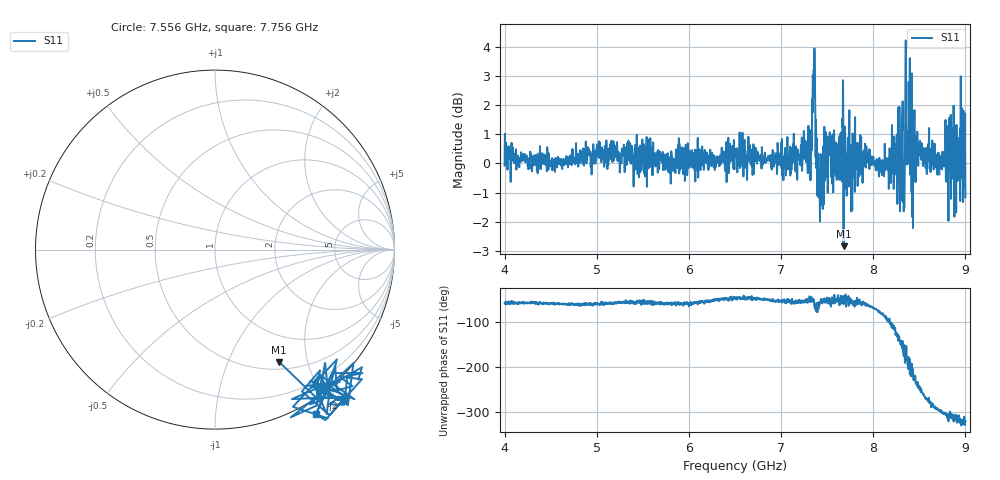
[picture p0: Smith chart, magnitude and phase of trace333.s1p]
! Created with skrf 1.8.0 (http://scikit-rf.org).
# Hz S RI R 50.0
!freq ReS11 ImS11
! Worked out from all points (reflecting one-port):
!   1601 points, 4 GHz to 9 GHz, reference 50 ohm
!   lowest |S11| = -2.8 dB at 7.678 GHz (marker M1), VSWR 6.17, Z = 29.9 - j77.8 ohm
!   phase of S11 starts at -58 deg and turns -264 deg over the sweep
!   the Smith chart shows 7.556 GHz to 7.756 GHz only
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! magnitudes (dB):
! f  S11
! 4 GHz  -0.1
! 4.625 GHz  -0.2
! 5.25 GHz  -0.3
! 5.875 GHz  0.2
! 6.5 GHz  0.4
! 7.125 GHz  0.2
! 7.309 GHz  1.1
! 7.353 GHz  3.2
! 7.369 GHz  2.4
! 7.4 GHz  0.3
! 7.428 GHz  0.3
! 7.509 GHz  -0.3
! 7.588 GHz  -0.3
! 7.65 GHz  0.8
! 7.678 GHz  -2.8
! 7.75 GHz  -0.4
! 8.175 GHz  -0.3
! 8.294 GHz  -0.3
! 8.316 GHz  1.1
! 8.334 GHz  -1.4
! 8.347 GHz  1.8
! 8.375 GHz  0.0
! 8.447 GHz  1.8
! 8.712 GHz  0.4
! 8.847 GHz  0.9
! 8.9 GHz  -1.7
! 8.953 GHz  -0.4
! 9 GHz  -1.2
